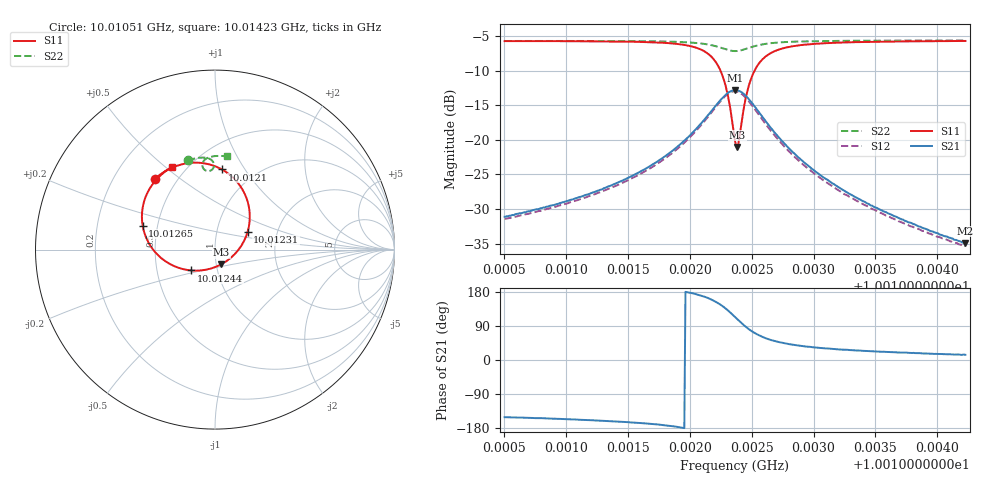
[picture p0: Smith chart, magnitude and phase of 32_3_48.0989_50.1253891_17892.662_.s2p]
#  HZ  S  RI  R  50.00
! Rohde & Schwarz Vector Network Analyzer
! Rohde-Schwarz,ZNB20-2Port,1311601062101988,3.16
! Created: UTC 12/23/2023, 3:37:46 AM
! freq[Hz]  re:S11  im:S11  re:S21  im:S21  re:S12  im:S12  re:S22  im:S22
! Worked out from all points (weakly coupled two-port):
!   401 points, 10.01051 GHz to 10.01423 GHz, reference 50 ohm
!   highest |S21| = -12.79 dB at 10.01237 GHz (marker M1); lowest = -34.9 dB at 10.01423 GHz (marker M2)
!   lowest |S11| = -21.0 dB at 10.01238 GHz (marker M3), VSWR 1.20, Z = 52.9 - j8.71 ohm
!   |S11| at or under -10 dB: 10.01225 GHz to 10.01252 GHz (274.3 kHz wide, 0.00274 % of centre)
!   |S22| runs from -7.2 to -5.6 dB; largest |S21 - S12| = 0.011
!   S11 on the Smith chart (normalised r, x): 10.01051 GHz: 0.38, +0.41; 10.0121 GHz: 0.71, +0.80; 10.01231 GHz: 1.41, +0.29; 10.01244 GHz: 0.75, -0.18; 10.01265 GHz: 0.41, +0.13; 10.01423 GHz: 0.42, +0.53
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1.0010506e10  -0.334 0.396  -0.0243 -0.0135  -0.0227 -0.0144  -0.1495 0.4974
1.0011129e10  -0.2769 0.437  -0.0362 -0.0145  -0.034 -0.0159  -0.1073 0.5084
1.0011492e10  -0.2233 0.4632  -0.0504 -0.0147  -0.0478 -0.0165  -0.0799 0.5123
1.0011752e10  -0.1586 0.4807  -0.0701 -0.0117  -0.0668 -0.0148  -0.0571 0.5126
1.0011947e10  -0.0731 0.4826  -0.0969 -0.00141  -0.0934 -0.00707  -0.0363 0.5086
1.0012096e10  0.039 0.4464  -0.1305 0.0244  -0.128 0.0164  -0.0175 0.4975
1.0012171e10  0.1144 0.387  -0.1501 0.0539  -0.1493 0.0443  -0.00881 0.4856
1.0012226e10  0.1687 0.3038  -0.1601 0.0904  -0.1614 0.0803  -0.00542 0.4719
1.0012273e10  0.1934 0.1991  -0.1578 0.1305  -0.1606 0.1209  -0.00774 0.458
1.001231e10  0.1816 0.0979  -0.1422 0.1666  -0.146 0.1584  -0.015 0.4467
1.0012366e10  0.0857 -0.0477  -0.0911 0.2104  -0.096 0.2031  -0.0346 0.4376
1.0012385e10  0.0354 -0.0816  -0.0694 0.2175  -0.0737 0.2108  -0.0421 0.4377
1.0012403e10  -0.0197 -0.1046  -0.0473 0.2203  -0.0514 0.2137  -0.0493 0.4395
1.001244e10  -0.1321 -0.1162  -0.0044 0.2137  -0.00958 0.2069  -0.0611 0.4473
1.0012478e10  -0.2295 -0.0911  0.0298 0.1949  0.024 0.1886  -0.068 0.458
1.0012524e10  -0.3155 -0.0328  0.0559 0.1656  0.0489 0.1604  -0.0706 0.4713
1.0012654e10  -0.403 0.1332  0.0738 0.0976  0.0669 0.0956  -0.0606 0.497
1.0012803e10  -0.4005 0.2473  0.0645 0.0578  0.0589 0.0574  -0.0437 0.5101
1.0012989e10  -0.373 0.3234  0.0511 0.0343  0.0472 0.0349  -0.0249 0.5169
1.001324e10  -0.3371 0.378  0.0384 0.0199  0.0354 0.0206  -0.00338 0.5207
1.0013612e10  -0.2943 0.4218  0.0272 0.0105  0.0253 0.0113  0.025 0.5221
1.0014226e10  -0.2383 0.4617  0.0174 0.00426  0.0162 0.00506  0.0681 0.5195
